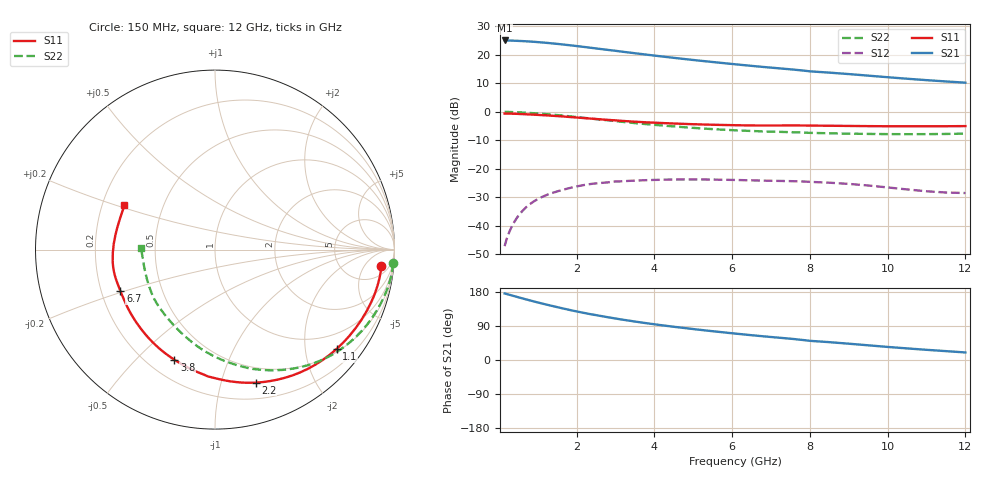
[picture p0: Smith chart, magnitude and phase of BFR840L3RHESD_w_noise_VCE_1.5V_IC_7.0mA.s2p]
! Infineon Technologies  Discrete & RF Semiconductors
! BFR840L3RHESD
! VCE =  1.5 V,  IC =  7.0 mA
! Common Emitter S-Parameters:  Jun 2012
# GHz  S  MA  R  50
!  f  S11  S21  S12  S22
! GHz  MAG  ANG  MAG  ANG  MAG  ANG  MAG  ANG
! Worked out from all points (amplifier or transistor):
!   91 points, 150 MHz to 12 GHz, reference 50 ohm
!   highest |S21| = 25.0 dB at 150 MHz (marker M1)
!   |S21| within 3 dB of that: start of sweep to 2.62 GHz
!   unconditionally stable (mu >= 1): 8.875 GHz to end of sweep
!   at 1.3 GHz: K = 0.10, MSG = 26.5 dB, |S12| = -28.8 dB
!   at 4.3 GHz: K = 0.34, MSG = 21.5 dB, |S12| = -23.8 dB
!   at 12 GHz: K = 2.25, MAG = 13.0 dB, |S12| = -28.5 dB
!   lowest NFmin = 0.57 dB at 450 MHz
!   S11 on the Smith chart (normalised r, x): 150 MHz: 9, -13; 1.1 GHz: 0.57, -2.70; 2.2 GHz: 0.35, -1.29; 3.8 GHz: 0.30, -0.65; 6.7 GHz: 0.28, -0.19; 12 GHz: 0.29, +0.21
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0.15  0.9319 -5.7  17.84 175.6  0.0044 84.9  0.9962 -4.4
0.35  0.9266 -13.2  17.7 169.9  0.0102 83.8  0.9889 -10.6
0.6  0.9119 -22.1  17.39 162.8  0.018 74.5  0.9715 -17.9
0.9  0.8902 -32.5  16.89 154.6  0.0268 67.1  0.9446 -26.3
1.1  0.875 -39.2  16.48 149.4  0.0318 63.4  0.9239 -31.7
1.3  0.859 -45.8  16.03 144.4  0.0362 60.0  0.9012 -36.9
1.6  0.8325 -55.3  15.28 137.2  0.042 54.6  0.8636 -44.5
1.9  0.8038 -64.4  14.5 130.4  0.0473 49.0  0.8235 -51.7
2.2  0.7751 -73.0  13.71 124.1  0.0521 43.6  0.7831 -58.3
2.6  0.7392 -83.3  12.68 116.6  0.0563 37.9  0.7322 -66.6
3.1  0.6984 -95.3  11.5 107.8  0.0601 32.0  0.6747 -76.0
3.5  0.6708 -104.1  10.65 101.5  0.0621 27.7  0.6339 -83.0
3.8  0.654 -110.2  10.06 97.1  0.0633 24.8  0.607 -88.0
4.2  0.6356 -117.9  9.336 91.6  0.0644 21.2  0.5754 -94.3
4.6  0.6197 -125.1  8.687 86.5  0.065 17.9  0.5476 -100.3
5.1  0.6031 -133.6  7.975 80.5  0.0652 14.1  0.5172 -107.4
6.1  0.5817 -148.5  6.795 69.5  0.0637 8.1  0.4733 -121.0
6.7  0.5751 -156.4  6.209 63.5  0.0623 5.5  0.4558 -128.7
8  0.5734 -173.8  5.126 50.6  0.0591 -0.7  0.4271 -146.3
8.5  0.5694 -178.4  4.867 47.1  0.0571 -2.5  0.4202 -150.9
10.5  0.5569 163.6  3.802 30.6  0.0435 -4.3  0.4052 -170.3
12  0.5615 154.0  3.243 19.9  0.0376 7.9  0.414 178.6
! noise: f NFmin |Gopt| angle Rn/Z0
0.45  0.57  0.44  6  0.17
0.9  0.6  0.43  11  0.17
1.9  0.64  0.45  29  0.16
3.5  0.65  0.43  48  0.15
4  0.67  0.43  57  0.15
5.5  0.7  0.44  70  0.13
7  0.78  0.42  91  0.12
8  0.84  0.4  100  0.11
10  0.96  0.36  123  0.1
12  1.12  0.32  153  0.09
